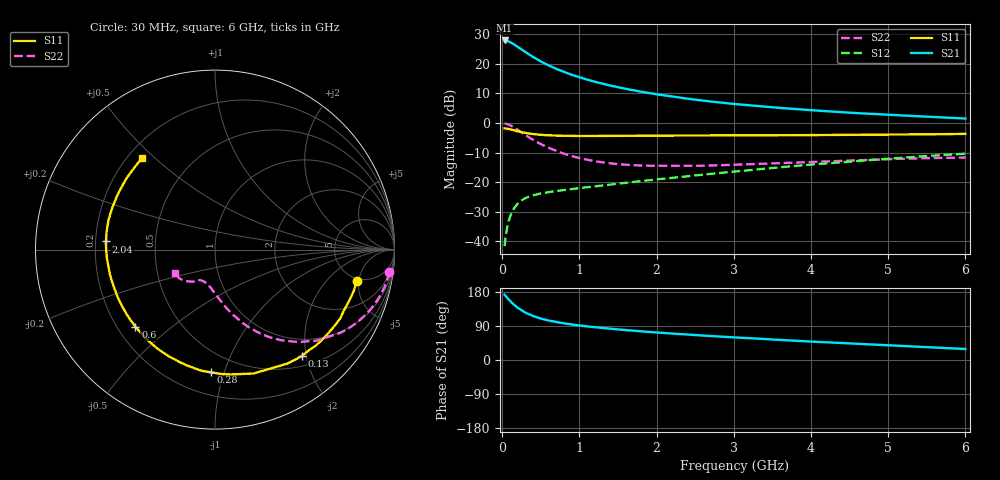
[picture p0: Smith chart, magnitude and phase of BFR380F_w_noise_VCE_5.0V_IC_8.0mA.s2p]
! Infineon Technologies  Discrete & RF Semiconductors
! BFR380F
! VCE =  5.0 V,  IC =  8.0 mA
! Common Emitter S-Parameters:  Nov 2015
# GHz  S  MA  R  50
!  f  S11  S21  S12  S22
! GHz  MAG  ANG  MAG  ANG  MAG  ANG  MAG  ANG
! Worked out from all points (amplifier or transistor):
!   206 points, 30 MHz to 6 GHz, reference 50 ohm
!   highest |S21| = 27.8 dB at 30 MHz (marker M1)
!   |S21| within 3 dB of that: start of sweep to 248.2 MHz
!   unconditionally stable (mu >= 1): 1.958 GHz to 5.037 GHz
!   at 200 MHz: K = 0.19, MSG = 26.5 dB, |S12| = -27.3 dB
!   at 1.56 GHz: K = 0.93, MSG = 16.0 dB, |S12| = -20.4 dB
!   at 6 GHz: K = 0.97, MSG = 5.9 dB, |S12| = -10.4 dB
!   lowest NFmin = 0.82 dB at 450 MHz
!   S11 on the Smith chart (normalised r, x): 30 MHz: 4.69, -4.67; 130 MHz: 0.67, -1.92; 280 MHz: 0.35, -0.90; 600 MHz: 0.27, -0.38; 2.04 GHz: 0.24, +0.04; 6 GHz: 0.26, +0.45
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0.03  0.8087 -12.3  24.63 172.3  0.0083 83.8  0.9798 -7.4
0.05  0.8006 -20.8  24.51 167.0  0.0136 80.6  0.9682 -12.2
0.07  0.7959 -28.8  24.02 162.4  0.0188 76.5  0.9494 -16.9
0.1  0.7804 -40.1  23.09 156.0  0.0259 71.1  0.9129 -23.6
0.13  0.7656 -50.7  21.96 150.0  0.032 66.2  0.8702 -29.7
0.15  0.7519 -57.7  21.25 146.1  0.0358 63.5  0.8399 -33.4
0.2  0.7229 -72.7  19.24 137.6  0.0433 57.4  0.762 -41.7
0.28  0.6842 -91.9  16.35 127.4  0.0519 50.6  0.6485 -51.7
0.3  0.6792 -96.5  15.7 124.9  0.0537 49.3  0.6227 -54.1
0.34  0.6637 -103.7  14.49 121.2  0.0565 47.2  0.5767 -57.9
0.4  0.6477 -113.5  12.93 116.0  0.06 44.8  0.5164 -62.8
0.5  0.6295 -126.1  10.88 109.3  0.0644 42.6  0.4375 -69.3
0.6  0.6181 -135.8  9.337 104.2  0.0679 41.6  0.3793 -74.4
0.8  0.6057 -149.5  7.227 96.6  0.0736 41.8  0.3012 -82.2
1.04  0.6005 -160.5  5.668 90.1  0.0803 43.8  0.2481 -89.3
1.4  0.6023 -171.7  4.265 82.4  0.0909 47.4  0.2073 -98.4
2.02  0.6098 176.0  3.011 72.3  0.1118 52.9  0.1884 -109.2
2.04  0.6098 175.7  2.985 72.1  0.1125 53.1  0.1883 -109.4
3.1  0.6161 161.9  2.034 58.7  0.1552 58.5  0.1985 -119.8
4.1  0.6225 150.3  1.605 47.7  0.2025 59.6  0.2207 -125.9
5.1  0.6344 139.6  1.351 37.9  0.2536 58.4  0.2467 -136.1
6  0.6526 128.7  1.184 29.0  0.3023 55.2  0.2601 -149.3
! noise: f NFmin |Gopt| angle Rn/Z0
0.45  0.82  0.13  62  0.11
0.9  0.83  0.2  115  0.09
1.8  1.14  0.34  160  0.08
1.9  1.23  0.35  162  0.07
2.4  1.38  0.38  177  0.08
3.5  2.04  0.48  -161  0.11
